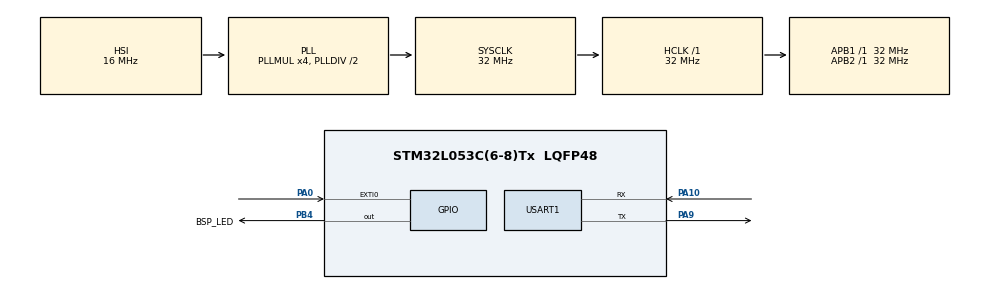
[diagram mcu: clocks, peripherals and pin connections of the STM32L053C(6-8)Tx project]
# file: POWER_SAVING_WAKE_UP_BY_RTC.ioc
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Mcu.Family=STM32L0
Mcu.Name=STM32L053C(6-8)Tx
Mcu.Package=LQFP48
NVIC.EXTI0_1_IRQn=true\:0\:0\:false\:false\:true\:true\:true\:true
NVIC.RTC_IRQn=true\:0\:0\:false\:false\:true\:true\:true\:true
PA0.Signal=GPXTI0
PA10.Mode=Asynchronous
PA10.Signal=USART1_RX
PA13.Mode=Serial_Wire
PA13.Signal=SYS_SWDIO
PA14.Mode=Serial_Wire
PA14.Signal=SYS_SWCLK
PA9.Mode=Asynchronous
PA9.Signal=USART1_TX
PB4.GPIO_Label=BSP_LED
PB4.Signal=GPIO_Output
PC14-OSC32_IN.Mode=LSE-External-Oscillator
PC14-OSC32_IN.Signal=RCC_OSC32_IN
PC15-OSC32_OUT.Mode=LSE-External-Oscillator
PC15-OSC32_OUT.Signal=RCC_OSC32_OUT
PH0-OSC_IN.Mode=HSE-External-Oscillator
PH0-OSC_IN.Signal=RCC_OSC_IN
PH1-OSC_OUT.Mode=HSE-External-Oscillator
PH1-OSC_OUT.Signal=RCC_OSC_OUT
ProjectManager.HeapSize=0x200
ProjectManager.StackSize=0x400
ProjectManager.TargetToolchain=STM32CubeIDE
RCC.AHBFreq_Value=32000000
RCC.APB1Freq_Value=32000000
RCC.APB1TimFreq_Value=32000000
RCC.APB2Freq_Value=32000000
RCC.APB2TimFreq_Value=32000000
RCC.HCLKFreq_Value=32000000
RCC.HSI16_VALUE=16000000
RCC.HSI48MClockSelection=RCC_USBCLKSOURCE_HSI48
RCC.HSI48_VALUE=48000000
RCC.HSI_VALUE=16000000
RCC.MSI_VALUE=2097000
RCC.PLLMUL=RCC_PLLMUL_4
RCC.RCC_RTC_Clock_Source_FROM_HSE=RCC_RTCCLKSOURCE_HSE_DIV8
RCC.RTCClockSelection=RCC_RTCCLKSOURCE_LSI
RCC.RTCClockSelectionVirtual=RCC_RTCCLKSOURCE_LSE
RCC.SYSCLKFreq_VALUE=32000000
RCC.SYSCLKSource=RCC_SYSCLKSOURCE_PLLCLK
RCC.VCOOutputFreq_Value=64000000
USART1.VirtualMode-Asynchronous=VM_ASYNC
VP_RTC_VS_RTC_Activate.Mode=RTC_Enabled
VP_RTC_VS_RTC_WakeUp_intern.Mode=WakeUp
board=STM32L0538-DISCO

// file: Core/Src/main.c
/* USER CODE BEGIN Header */
/**
 ******************************************************************************
 * @file           : main.c
 * @brief          : Main program body
 ******************************************************************************
 * @attention
 *
 * Copyright (c) 2023 STMicroelectronics.
 * All rights reserved.
 *
 * This software is licensed under terms that can be found in the LICENSE file
 * in the root directory of this software component.
 * If no LICENSE file comes with this software, it is provided AS-IS.
 *
 ******************************************************************************
 */
/* USER CODE END Header */
#include "main.h"

/* USER CODE BEGIN Includes */
#include "string.h"
/* USER CODE END Includes */

RTC_HandleTypeDef hrtc;

UART_HandleTypeDef huart1;

/* USER CODE BEGIN PV */
uint8_t flag = 0;
/* USER CODE END PV */

void SystemClock_Config(void);
static void MX_GPIO_Init(void);
static void MX_USART1_UART_Init(void);
static void MX_RTC_Init(void);

/* USER CODE BEGIN 0 */
void HAL_GPIO_EXTI_Callback(uint16_t GPIO_Pin) {
	if (GPIO_Pin == GPIO_PIN_0) {
		SystemClock_Config();
		HAL_ResumeTick();
		char *str = "WAKEUP FROM EXTII\r\n";
		HAL_UART_Transmit(&huart1, (uint8_t*) str, strlen(str), HAL_MAX_DELAY);
		HAL_PWR_DisableSleepOnExit();
	}
}

void HAL_RTCEx_WakeUpTimerEventCallback(RTC_HandleTypeDef *hrtc) {
	SystemClock_Config();
	HAL_ResumeTick();
	char *str = "WAKEUP FROM RTC\n NOW GOING IN STOP MODE AGAIN\r\n";
	HAL_UART_Transmit(&huart1, (uint8_t*) str, strlen(str), HAL_MAX_DELAY);
	flag = 1;
}
/* USER CODE END 0 */

int main(void) {

	/* MCU Configuration--------------------------------------------------------*/

	/* Reset of all peripherals, Initializes the Flash interface and the Systick. */
	HAL_Init();

	/* Configure the system clock */
	SystemClock_Config();

	/* Initialize all configured peripherals */
	MX_GPIO_Init();
	MX_USART1_UART_Init();
	MX_RTC_Init();

	/* Infinite loop */
	while (1) {

		/* USER CODE BEGIN 3 */
		char *str = "About to go into STOP MODE...\r\n";
		HAL_UART_Transmit(&huart1, (uint8_t*) str, strlen(str), 1000);

		for (int i = 0; i < 20; i++) {
			HAL_GPIO_TogglePin(BSP_LED_GPIO_Port, BSP_LED_Pin);
			HAL_Delay(200);
		}

		/*** RTC wake up time related ***/

		/*## Configure the Wake up timer ###########################################*/
		/*  RTC Wake-up Interrupt Generation:
		 Wake-up Time Base = (RTC_WAKEUPCLOCK_RTCCLK_DIV /(LSI))
		 ==> WakeUpCounter = Wake-up Time / Wake-up Time Base

		 To configure the wake up timer to 20s the WakeUpCounter is set to 0xA017:
		 RTC_WAKEUPCLOCK_RTCCLK_DIV = RTCCLK_Div16 = 16
		 Wake-up Time Base = 16 /(32KHz) = 0.0005 seconds
		 ==> WakeUpCounter = ~10s/0.0005s = 20000 = 0x4E20 */

		if (HAL_RTCEx_SetWakeUpTimer_IT(&hrtc, 0x4E20,
		RTC_WAKEUPCLOCK_RTCCLK_DIV16) != HAL_OK) {
			Error_Handler();
		}

		/*** Suspend the SYSTICK before going into ***/
		HAL_SuspendTick();

		/**** ENTER THE STOP MODE ****/
		HAL_PWR_EnterSTOPMode(PWR_MAINREGULATOR_ON, PWR_STOPENTRY_WFI);

		/** wake from the STOP MODE **/

		/** disable the RTC wake up call **/
		HAL_RTCEx_DeactivateWakeUpTimer(&hrtc);

		if (flag == 1) {
			for (int i = 0; i < 20; i++) {
				HAL_GPIO_TogglePin(BSP_LED_GPIO_Port, BSP_LED_Pin);
				HAL_Delay(1000);
			}
		}

		if (flag == 0) {
			char *str2 = "Wakeup from the STOP MODE in main loop...\r\n";
			HAL_UART_Transmit(&huart1, (uint8_t*) str2, strlen(str2), 1000);
		}
	}
	/* USER CODE END 3 */
}

void SystemClock_Config(void) {
	RCC_OscInitTypeDef RCC_OscInitStruct = { 0 };
	RCC_ClkInitTypeDef RCC_ClkInitStruct = { 0 };
	RCC_PeriphCLKInitTypeDef PeriphClkInit = { 0 };

	/** Configure the main internal regulator output voltage
	 */
	__HAL_PWR_VOLTAGESCALING_CONFIG(PWR_REGULATOR_VOLTAGE_SCALE1);

	/** Initializes the RCC Oscillators according to the specified parameters
	 * in the RCC_OscInitTypeDef structure.
	 */
	RCC_OscInitStruct.OscillatorType = RCC_OSCILLATORTYPE_HSI
			| RCC_OSCILLATORTYPE_LSI;
	RCC_OscInitStruct.HSIState = RCC_HSI_ON;
	RCC_OscInitStruct.HSICalibrationValue = RCC_HSICALIBRATION_DEFAULT;
	RCC_OscInitStruct.LSIState = RCC_LSI_ON;
	RCC_OscInitStruct.PLL.PLLState = RCC_PLL_ON;
	RCC_OscInitStruct.PLL.PLLSource = RCC_PLLSOURCE_HSI;
	RCC_OscInitStruct.PLL.PLLMUL = RCC_PLLMUL_4;
	RCC_OscInitStruct.PLL.PLLDIV = RCC_PLLDIV_2;
	if (HAL_RCC_OscConfig(&RCC_OscInitStruct) != HAL_OK) {
		Error_Handler();
	}

	/** Initializes the CPU, AHB and APB buses clocks
	 */
	RCC_ClkInitStruct.ClockType = RCC_CLOCKTYPE_HCLK | RCC_CLOCKTYPE_SYSCLK
			| RCC_CLOCKTYPE_PCLK1 | RCC_CLOCKTYPE_PCLK2;
	RCC_ClkInitStruct.SYSCLKSource = RCC_SYSCLKSOURCE_PLLCLK;
	RCC_ClkInitStruct.AHBCLKDivider = RCC_SYSCLK_DIV1;
	RCC_ClkInitStruct.APB1CLKDivider = RCC_HCLK_DIV1;
	RCC_ClkInitStruct.APB2CLKDivider = RCC_HCLK_DIV1;

	if (HAL_RCC_ClockConfig(&RCC_ClkInitStruct, FLASH_LATENCY_1) != HAL_OK) {
		Error_Handler();
	}
	PeriphClkInit.PeriphClockSelection = RCC_PERIPHCLK_USART1
			| RCC_PERIPHCLK_RTC;
	PeriphClkInit.Usart1ClockSelection = RCC_USART1CLKSOURCE_PCLK2;
	PeriphClkInit.RTCClockSelection = RCC_RTCCLKSOURCE_LSI;
	if (HAL_RCCEx_PeriphCLKConfig(&PeriphClkInit) != HAL_OK) {
		Error_Handler();
	}
}

static void MX_RTC_Init(void) {

	/** Initialize RTC Only
	 */
	hrtc.Instance = RTC;
	hrtc.Init.HourFormat = RTC_HOURFORMAT_24;
	hrtc.Init.AsynchPrediv = 127;
	hrtc.Init.SynchPrediv = 255;
	hrtc.Init.OutPut = RTC_OUTPUT_DISABLE;
	hrtc.Init.OutPutRemap = RTC_OUTPUT_REMAP_NONE;
	hrtc.Init.OutPutPolarity = RTC_OUTPUT_POLARITY_HIGH;
	hrtc.Init.OutPutType = RTC_OUTPUT_TYPE_OPENDRAIN;
	if (HAL_RTC_Init(&hrtc) != HAL_OK) {
		Error_Handler();
	}

	/** Enable the WakeUp
	 */
//  if (HAL_RTCEx_SetWakeUpTimer_IT(&hrtc, 0, RTC_WAKEUPCLOCK_RTCCLK_DIV16) != HAL_OK)
//  {
//    Error_Handler();
//  }

}

static void MX_USART1_UART_Init(void) {

	huart1.Instance = USART1;
	huart1.Init.BaudRate = 115200;
	huart1.Init.WordLength = UART_WORDLENGTH_8B;
	huart1.Init.StopBits = UART_STOPBITS_1;
	huart1.Init.Parity = UART_PARITY_NONE;
	huart1.Init.Mode = UART_MODE_TX_RX;
	huart1.Init.HwFlowCtl = UART_HWCONTROL_NONE;
	huart1.Init.OverSampling = UART_OVERSAMPLING_16;
	huart1.Init.OneBitSampling = UART_ONE_BIT_SAMPLE_DISABLE;
	huart1.AdvancedInit.AdvFeatureInit = UART_ADVFEATURE_NO_INIT;
	if (HAL_UART_Init(&huart1) != HAL_OK) {
		Error_Handler();
	}

}

static void MX_GPIO_Init(void) {
	GPIO_InitTypeDef GPIO_InitStruct = { 0 };

	/* GPIO Ports Clock Enable */
	__HAL_RCC_GPIOC_CLK_ENABLE();
	__HAL_RCC_GPIOH_CLK_ENABLE();
	__HAL_RCC_GPIOA_CLK_ENABLE();
	__HAL_RCC_GPIOB_CLK_ENABLE();

	/*Configure GPIO pin Output Level */
	HAL_GPIO_WritePin(BSP_LED_GPIO_Port, BSP_LED_Pin, GPIO_PIN_RESET);

	/*Configure GPIO pin : PA0 */
	GPIO_InitStruct.Pin = GPIO_PIN_0;
	GPIO_InitStruct.Mode = GPIO_MODE_IT_RISING;
	GPIO_InitStruct.Pull = GPIO_NOPULL;
	HAL_GPIO_Init(GPIOA, &GPIO_InitStruct);

	/*Configure GPIO pin : BSP_LED_Pin */
	GPIO_InitStruct.Pin = BSP_LED_Pin;
	GPIO_InitStruct.Mode = GPIO_MODE_OUTPUT_PP;
	GPIO_InitStruct.Pull = GPIO_NOPULL;
	GPIO_InitStruct.Speed = GPIO_SPEED_FREQ_LOW;
	HAL_GPIO_Init(BSP_LED_GPIO_Port, &GPIO_InitStruct);

	/* EXTI interrupt init*/
	HAL_NVIC_SetPriority(EXTI0_1_IRQn, 0, 0);
	HAL_NVIC_EnableIRQ(EXTI0_1_IRQn);

}

void Error_Handler(void) {
	__disable_irq();
	while (1) {
	}
}
